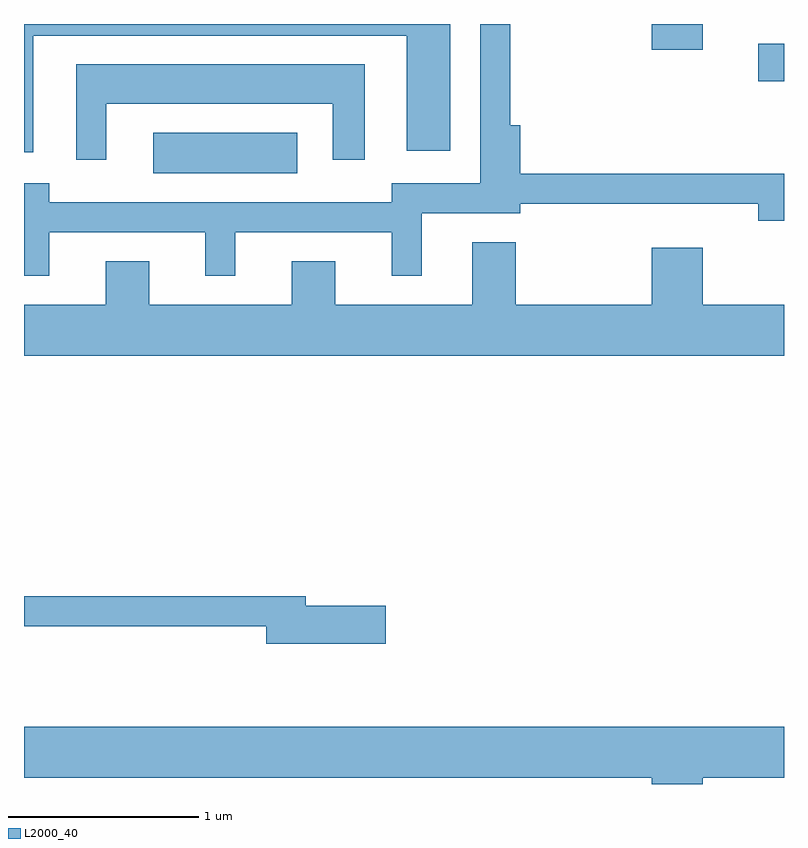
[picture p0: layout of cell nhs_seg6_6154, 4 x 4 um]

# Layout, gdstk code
import gdstk
lib = gdstk.Library(unit=1e-6, precision=1e-09)
def R(c, l, rs):  # rectangles x0, y0, x1, y1
    for r in rs: c.add(gdstk.rectangle(r[:2], r[2:], *l))
def P(c, l, *ps):  # polygons
    for p in ps: c.add(gdstk.Polygon(p, *l))
L2000_40 = (2000, 40)

nhs_seg6_6154 = lib.new_cell('nhs_seg6_6154')
R(nhs_seg6_6154, L2000_40, [(372.291,1615.376,373.049,1615.589), (375.476,1615.861,375.611,1616.059), (374.916,1616.026,375.184,1616.162)])
P(nhs_seg6_6154, L2000_40, [(371.659,1616.101),(373.626,1616.101),(373.626,1615.496),(373.854,1615.496),(373.854,1616.162),(371.611,1616.162),(371.611,1615.486),(371.659,1615.486)],
  [(371.744,1615.066),(372.566,1615.066),(372.566,1614.838),(372.724,1614.838),(372.724,1615.066),(373.546,1615.066),(373.546,1614.838),(373.704,1614.838),(373.704,1615.166),(374.224,1615.166),(374.224,1615.216),(375.476,1615.216),(375.476,1615.126),(375.611,1615.126),(375.611,1615.374),(374.224,1615.374),(374.224,1615.629),(374.169,1615.629),(374.169,1616.162),(374.011,1616.162),(374.011,1615.324),(373.546,1615.324),(373.546,1615.224),(371.744,1615.224),(371.744,1615.324),(371.611,1615.324),(371.611,1614.838),(371.744,1614.838)],
  [(372.044,1615.741),(373.236,1615.741),(373.236,1615.448),(373.404,1615.448),(373.404,1615.949),(371.886,1615.949),(371.886,1615.448),(372.044,1615.448)],
  [(373.021,1614.914),(373.021,1614.684),(372.269,1614.684),(372.269,1614.914),(372.041,1614.914),(372.041,1614.684),(371.611,1614.684),(371.611,1614.416),(375.611,1614.416),(375.611,1614.684),(375.184,1614.684),(375.184,1614.984),(374.916,1614.984),(374.916,1614.684),(374.199,1614.684),(374.199,1615.014),(373.971,1615.014),(373.971,1614.684),(373.249,1614.684),(373.249,1614.914)],
  [(373.514,1613.099),(373.094,1613.099),(373.094,1613.149),(371.611,1613.149),(371.611,1612.991),(372.886,1612.991),(372.886,1612.901),(373.514,1612.901)],
  [(375.184,1612.196),(375.611,1612.196),(375.611,1612.464),(371.611,1612.464),(371.611,1612.196),(374.916,1612.196),(374.916,1612.162),(375.184,1612.162)])

lib.write_gds('nhs_seg6_6154.gds')
